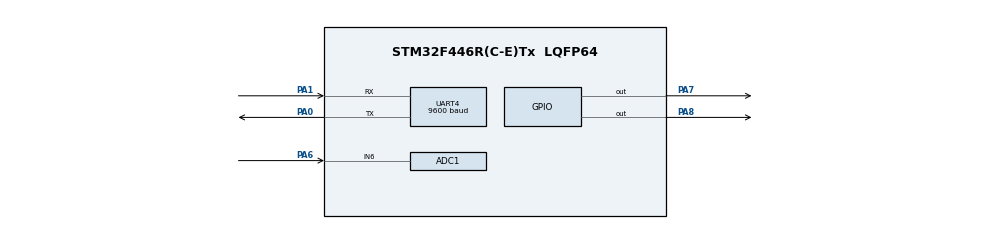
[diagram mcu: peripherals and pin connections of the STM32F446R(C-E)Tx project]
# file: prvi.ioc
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ADC1.Channel-1\#ChannelRegularConversion=ADC_CHANNEL_6
ADC1.ContinuousConvMode=ENABLE
ADC1.NbrOfConversionFlag=1
ADC1.Rank-1\#ChannelRegularConversion=1
ADC1.SamplingTime-1\#ChannelRegularConversion=ADC_SAMPLETIME_3CYCLES
ADC1.master=1
Mcu.Family=STM32F4
Mcu.Name=STM32F446R(C-E)Tx
Mcu.Package=LQFP64
NVIC.ADC_IRQn=true\:0\:0\:false\:false\:true\:true\:true\:true
NVIC.PriorityGroup=NVIC_PRIORITYGROUP_4
NVIC.UART4_IRQn=true\:0\:0\:false\:false\:true\:true\:true\:true
PA0-WKUP.Mode=Asynchronous
PA0-WKUP.Signal=UART4_TX
PA1.Mode=Asynchronous
PA1.Signal=UART4_RX
PA13.Mode=Serial_Wire
PA13.Signal=SYS_JTMS-SWDIO
PA14.Mode=Serial_Wire
PA14.Signal=SYS_JTCK-SWCLK
PA6.Signal=ADCx_IN6
PA7.Signal=GPIO_Output
PA8.Signal=GPIO_Output
ProjectManager.HeapSize=0x200
ProjectManager.StackSize=0x400
ProjectManager.TargetToolchain=STM32CubeIDE
RCC.CortexFreq_Value=16000000
RCC.USBFreq_Value=96000000
RCC.VCOOutputFreq_Value=192000000
SH.ADCx_IN6.0=ADC1_IN6,IN6
UART4.BaudRate=9600
UART4.VirtualMode=Asynchronous
board=custom

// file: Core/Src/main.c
/* USER CODE BEGIN Header */
/**
  ******************************************************************************
  * @file           : main.c
  * @brief          : Main program body
  ******************************************************************************
  * @attention
  *
  * Copyright (c) 2024 STMicroelectronics.
  * All rights reserved.
  *
  * This software is licensed under terms that can be found in the LICENSE file
  * in the root directory of this software component.
  * If no LICENSE file comes with this software, it is provided AS-IS.
  *
  ******************************************************************************
  */
/* USER CODE END Header */
#include "main.h"
#include "adc.h"
#include "usart.h"
#include "gpio.h"

/* USER CODE BEGIN Includes */
#include <stdio.h>
#include <string.h>
#ifdef __GNUC__
#define PUTCHAR_PROTOTYPE int __io_putchar(int ch)
#define GETCHAR_PROTOTYPE int __io_getchar(void)
#else
#define PUTCHAR_PROTOTYPE int fputc(int ch, FILE *f)
#define GETCHAR_PROTOTYPE int fgetc(FILE *f)
#endif

//Funkcija za slanje podataka na Nextion LCD
void Nextion_Send_Command(char *cmd) {
    char buffer[50];
    sprintf(buffer, "%s", cmd);
    HAL_UART_Transmit(&huart4, (uint8_t *)buffer, strlen(buffer), HAL_MAX_DELAY);
    // Send the three 0xFF bytes to indicate end of command
    uint8_t end_cmd[3] = {0xFF, 0xFF, 0xFF};
    HAL_UART_Transmit(&huart4, end_cmd, 3, HAL_MAX_DELAY);
}

PUTCHAR_PROTOTYPE
{
 HAL_UART_Transmit(&huart4, (uint8_t *)&ch, 1, HAL_MAX_DELAY);
 return ch;
}
GETCHAR_PROTOTYPE
{
 uint8_t ch = 0;
 __HAL_UART_CLEAR_OREFLAG(&huart4);
 HAL_UART_Receive(&huart4, (uint8_t *)&ch, 1, HAL_MAX_DELAY);
 HAL_UART_Transmit(&huart4, (uint8_t *)&ch, 1, HAL_MAX_DELAY);
 return ch;
}
/* USER CODE END Includes */

/* USER CODE BEGIN PV */
uint16_t rawValue;
float voltage;
float temp;
/* USER CODE END PV */

void SystemClock_Config(void);

/* USER CODE BEGIN 0 */
void HAL_ADC_ConvCpltCallback(ADC_HandleTypeDef* hadc) {
    if (hadc->Instance == ADC1) {
        // Očitavanje vrijednosti ADC-a
        rawValue = HAL_ADC_GetValue(&hadc1);
        // Pretvorba u napon i temperaturu
        voltage = (rawValue * 3.3) / 4095.0;
        temp = voltage * 100.0;

        // Slanje podataka na Nextion LCD
        char uartBuf[50];
        sprintf(uartBuf, "n0.val=%d", (int)temp);
        Nextion_Send_Command(uartBuf);

        sprintf(uartBuf, "t0.txt=\"%.2f °C\"", temp);
        Nextion_Send_Command(uartBuf);

        // Upravljanje LED-icama na osnovu temperature
        if (temp > 30.0) {
            HAL_GPIO_WritePin(GPIOA, GPIO_PIN_7, GPIO_PIN_SET);   // Crvena LED ON
            HAL_GPIO_WritePin(GPIOA, GPIO_PIN_8, GPIO_PIN_RESET); // Zelena LED OFF
        } else {
            HAL_GPIO_WritePin(GPIOA, GPIO_PIN_7, GPIO_PIN_RESET); // Crvena LED OFF
            HAL_GPIO_WritePin(GPIOA, GPIO_PIN_8, GPIO_PIN_SET);   // Zelena LED ON
        }

        // Ponovno pokretanje ADC konverzije u interrupt načinu
        HAL_ADC_Start_IT(&hadc1);
    }
}
/* USER CODE END 0 */

int main(void)
{

  /* USER CODE BEGIN 1 */
	setvbuf(stdin, NULL, _IONBF, 0);
  /* USER CODE END 1 */

  /* MCU Configuration--------------------------------------------------------*/

  /* Reset of all peripherals, Initializes the Flash interface and the Systick. */
  HAL_Init();

  /* Configure the system clock */
  SystemClock_Config();

  /* Initialize all configured peripherals */
  MX_GPIO_Init();
  MX_ADC1_Init();
  MX_UART4_Init();
  /* USER CODE BEGIN 2 */
  HAL_ADC_Start_IT(&hadc1);
  /* USER CODE END 2 */

  /* Infinite loop */
 while (1){
   }

}

void SystemClock_Config(void)
{
  RCC_OscInitTypeDef RCC_OscInitStruct = {0};
  RCC_ClkInitTypeDef RCC_ClkInitStruct = {0};

  /** Configure the main internal regulator output voltage
  */
  __HAL_RCC_PWR_CLK_ENABLE();
  __HAL_PWR_VOLTAGESCALING_CONFIG(PWR_REGULATOR_VOLTAGE_SCALE3);

  /** Initializes the RCC Oscillators according to the specified parameters
  * in the RCC_OscInitTypeDef structure.
  */
  RCC_OscInitStruct.OscillatorType = RCC_OSCILLATORTYPE_HSI;
  RCC_OscInitStruct.HSIState = RCC_HSI_ON;
  RCC_OscInitStruct.HSICalibrationValue = RCC_HSICALIBRATION_DEFAULT;
  RCC_OscInitStruct.PLL.PLLState = RCC_PLL_NONE;
  if (HAL_RCC_OscConfig(&RCC_OscInitStruct) != HAL_OK)
  {
    Error_Handler();
  }

  /** Initializes the CPU, AHB and APB buses clocks
  */
  RCC_ClkInitStruct.ClockType = RCC_CLOCKTYPE_HCLK|RCC_CLOCKTYPE_SYSCLK
                              |RCC_CLOCKTYPE_PCLK1|RCC_CLOCKTYPE_PCLK2;
  RCC_ClkInitStruct.SYSCLKSource = RCC_SYSCLKSOURCE_HSI;
  RCC_ClkInitStruct.AHBCLKDivider = RCC_SYSCLK_DIV1;
  RCC_ClkInitStruct.APB1CLKDivider = RCC_HCLK_DIV1;
  RCC_ClkInitStruct.APB2CLKDivider = RCC_HCLK_DIV1;

  if (HAL_RCC_ClockConfig(&RCC_ClkInitStruct, FLASH_LATENCY_0) != HAL_OK)
  {
    Error_Handler();
  }
}

void Error_Handler(void)
{
  __disable_irq();
  while (1)
  {
  }
}
